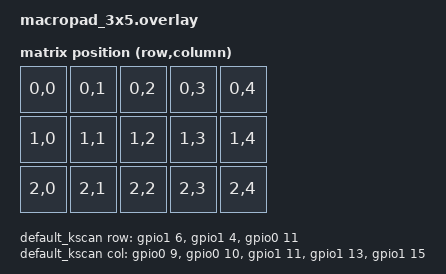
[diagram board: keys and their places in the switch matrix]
#include <dt-bindings/zmk/matrix_transform.h>

/ {
    chosen {
        zmk,kscan = &default_kscan;
        zmk,matrix_transform = &default_transform;
        /delete-property/ zephyr,console;
        /delete-property/ zephyr,shell-uart;
    };

    default_kscan: kscan {
        compatible = "zmk,kscan-gpio-matrix";
        label = "default_kscan";
        diode-direction = "col2row";

        col-gpios
            = <&gpio0 9 GPIO_ACTIVE_HIGH>
            , <&gpio0 10 GPIO_ACTIVE_HIGH>
            , <&gpio1 11 GPIO_ACTIVE_HIGH>
            , <&gpio1 13 GPIO_ACTIVE_HIGH>
            , <&gpio1 15 GPIO_ACTIVE_HIGH>
            ;

        row-gpios
            = <&gpio1 6 (GPIO_ACTIVE_HIGH | GPIO_PULL_DOWN)>
            , <&gpio1 4 (GPIO_ACTIVE_HIGH | GPIO_PULL_DOWN)>
            , <&gpio0 11 (GPIO_ACTIVE_HIGH | GPIO_PULL_DOWN)>
            ;
    };

    default_transform: matrix_transform {
        compatible = "zmk,matrix-transform";
        columns = <5>;
        rows = <3>;
        map = <
            RC(0,0) RC(0,1) RC(0,2) RC(0,3) RC(0,4)
            RC(1,0) RC(1,1) RC(1,2) RC(1,3) RC(1,4)
            RC(2,0) RC(2,1) RC(2,2) RC(2,3) RC(2,4)
        >;
    };
};


